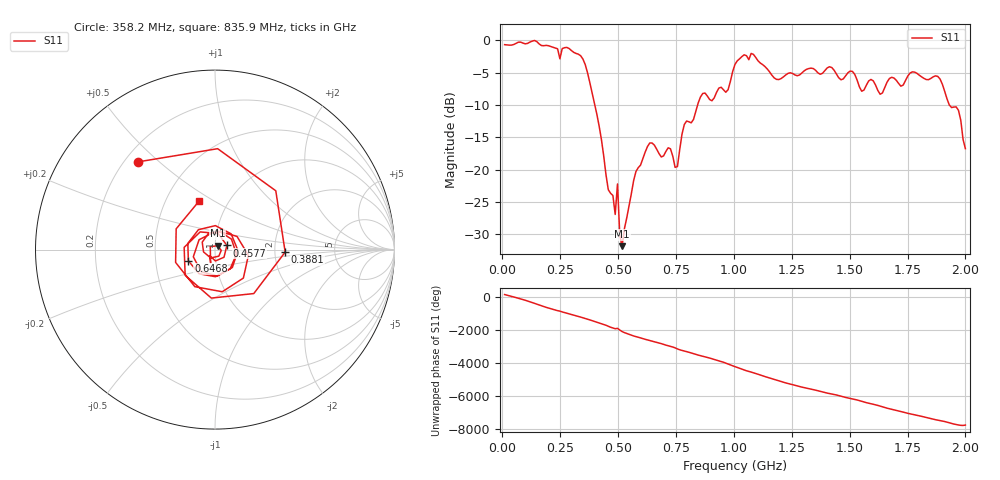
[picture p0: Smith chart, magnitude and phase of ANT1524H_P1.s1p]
!Created with skrf (http://scikit-rf.org).
# Hz S RI R 50.0
!freq ReS11 ImS11
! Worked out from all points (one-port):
!   201 points, 10 MHz to 2 GHz, reference 50 ohm
!   lowest |S11| = -31.8 dB at 517.5 MHz (marker M1), VSWR 1.05, Z = 51.4 + j2.2 ohm
!   |S11| at or under -10 dB: 399.8 MHz to 843.4 MHz (443.6 MHz wide, 71.4 % of centre); 1.931 GHz to end of sweep
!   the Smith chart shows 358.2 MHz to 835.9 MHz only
!   S11 on the Smith chart (normalised r, x): 358.2 MHz: 0.25, +0.43; 388.1 MHz: 2.28, -0.07; 457.8 MHz: 1.14, +0.05; 646.8 MHz: 0.74, -0.09; 835.9 MHz: 0.73, +0.43
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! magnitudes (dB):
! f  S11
! 10 MHz  -0.6
! 258.8 MHz  -1.3
! 358.2 MHz  -3.7
! 388.1 MHz  -8.2
! 457.8 MHz  -23.1
! 487.6 MHz  -26.9
! 497.6 MHz  -22.2
! 507.5 MHz  -30.2
! 517.5 MHz  -31.8
! 577.1 MHz  -20.3
! 646.8 MHz  -15.9
! 726.4 MHz  -16.8
! 756.2 MHz  -19.5
! 786.1 MHz  -13.0
! 835.9 MHz  -11.0
! 865.7 MHz  -8.2
! 975.1 MHz  -7.6
! 1.005 GHz  -3.7
! 1.075 GHz  -2.0
! 1.184 GHz  -6.0
! 1.254 GHz  -5.1
! 1.502 GHz  -4.7
! 1.552 GHz  -7.9
! 1.632 GHz  -8.3
! 1.751 GHz  -5.5
! 1.891 GHz  -6.0
! 1.97 GHz  -10.8
! 2 GHz  -16.7
